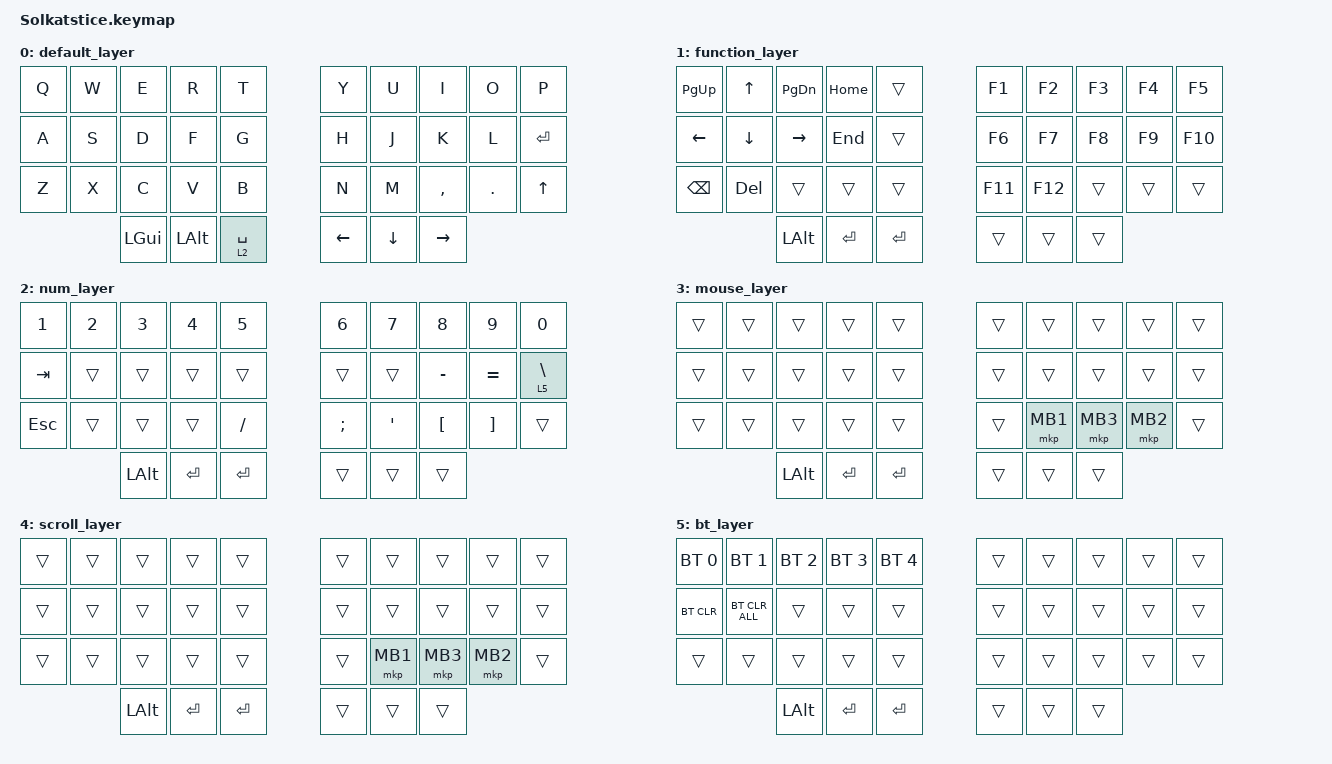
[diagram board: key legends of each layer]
#include <behaviors.dtsi>
#include <dt-bindings/zmk/keys.h>
#include <dt-bindings/zmk/pointing.h>
#include <dt-bindings/zmk/bt.h>
#include <behaviors/rgbled_widget.dtsi>

#define JIS 1
#define MOUSE 3
#define SCROLL 4
#define BT 5

&mt {
   flavor = "tap-preferred";
   quick_tap_ms = <125>;
   tapping_term_ms = <250>;
};
 
/ {
    macros {
        to_layer_0: to_layer_0 {
            compatible = "zmk,behavior-macro-one-param";
            #binding-cells = <1>;
            bindings = <&to 0 &macro_param_1to1 &kp MACRO_PLACEHOLDER>;
            label = "TO_LAYER_0";
        };
        mLCTL: mLCTL {
        compatible = "zmk,behavior-macro";
        #binding-cells = <0>;
        bindings = <&kp LCT>;
        };
        mF13: mF13 {
        compatible = "zmk,behavior-macro";
        #binding-cells = <0>;
        bindings = <&kp F13>;
        };
        mF14: mF14 {
        compatible = "zmk,behavior-macro";
        #binding-cells = <0>;
        bindings = <&kp F14>;
        };
        mF15: mF15 {
        compatible = "zmk,behavior-macro";
        #binding-cells = <0>;
        bindings = <&kp F15>;
        };
        mF16: mF16 {
        compatible = "zmk,behavior-macro";
        #binding-cells = <0>;
        bindings = <&kp F16>;
        };
        mF17: mF17 {
        compatible = "zmk,behavior-macro";
        #binding-cells = <0>;
        bindings = <&kp F17>;
        };
        mF18: mF18 {
        compatible = "zmk,behavior-macro";
        #binding-cells = <0>;
        bindings = <&kp F18>;
        };
    };

    behaviors {
        leader1: leader1 {
            compatible = "zmk,behavior-leader-key";
            #binding-cells = <0>;
            leftdown { sequence = <F13 F14 F15>; bindings = <&kp PG_UP>; };
            leftup   { sequence = <F15 F14 F13>; bindings = <&kp PG_DN>; };
            rightdown { sequence = <F16 F17 F18>; bindings = <&kp HOME>; };
            rightup   { sequence = <F18 F17 F16>; bindings = <&kp END>; };
        };

        lt_to_layer_0: lt_to_layer_0 {
            compatible = "zmk,behavior-hold-tap";
            label = "LAYER_TAP_TO_0";
            bindings = <&mo>, <&to_layer_0>;

            #binding-cells = <2>;
            tapping-term-ms = <200>;
        };
        toJIS: toJIS {
            compatible = "zmk,behavior-hold-tap";
            label = "toJIS";
            #binding-cells = <2>;
            tapping-term-ms = <200>;
            quick-tap-ms = <0>;
            bindings = <&tog>, <&kp>;
        };
        mo2: mo2 {
            compatible = "zmk,behavior-mod-morph";
            #binding-cells = <0>;
            bindings = <&kp N2>, <&kp LBKT>;
            mods = <(MOD_LSFT|MOD_RSFT)>;
        };
        mo6: mo6 {
            compatible = "zmk,behavior-mod-morph";
            #binding-cells = <0>;
            bindings = <&kp N6>, <&kp EQUAL>;
            mods = <(MOD_LSFT|MOD_RSFT)>;
        };
        mo7: mo7 {
            compatible = "zmk,behavior-mod-morph";
            #binding-cells = <0>;
            bindings = <&kp N7>, <&kp LS(N6)>;
            mods = <(MOD_LSFT|MOD_RSFT)>;
        };
        mo8: mo8 {
            compatible = "zmk,behavior-mod-morph";
            #binding-cells = <0>;
            bindings = <&kp N8>, <&kp LS(SQT)>;
            mods = <(MOD_LSFT|MOD_RSFT)>;
        };
        mo9: mo9 {
            compatible = "zmk,behavior-mod-morph";
            #binding-cells = <0>;
            bindings = <&kp N9>, <&kp LS(N8)>;
            mods = <(MOD_LSFT|MOD_RSFT)>;
        };
        mo0: mo0 {
            compatible = "zmk,behavior-mod-morph";
            #binding-cells = <0>;
            bindings = <&kp N0>, <&kp LS(N9)>;
            mods = <(MOD_LSFT|MOD_RSFT)>;
        };
        moMINUS: moMINUS {
            compatible = "zmk,behavior-mod-morph";
            #binding-cells = <0>;
            bindings = <&kp MINUS>, <&kp LS(INT_RO)>;
            mods = <(MOD_LSFT|MOD_RSFT)>;
        };
        moEQUAL: moEQUAL {
            compatible = "zmk,behavior-mod-morph";
            #binding-cells = <0>;
            bindings = <&kp LS(MINUS)>, <&kp COLON>;
            mods = <(MOD_LSFT|MOD_RSFT)>;
        };
        moLBKT: moLBKT {
            compatible = "zmk,behavior-mod-morph";
            #binding-cells = <0>;
            bindings = <&kp RBKT>, <&kp LS(RBRC)>;
            mods = <(MOD_LSFT|MOD_RSFT)>;
        };
        moRBKT: moRBKT {
            compatible = "zmk,behavior-mod-morph";
            #binding-cells = <0>;
            bindings = <&kp BSLH>, <&kp LS(BSLH)>;
            mods = <(MOD_LSFT|MOD_RSFT)>;
        };
        moSEMI: moSEMI {
            compatible = "zmk,behavior-mod-morph";
            #binding-cells = <0>;
            bindings = <&kp SEMI>, <&kp SQT>;
            mods = <(MOD_LSFT|MOD_RSFT)>;
        };
        moSQT: moSQT {
            compatible = "zmk,behavior-mod-morph";
            #binding-cells = <0>;
            bindings = <&kp LS(N7)>, <&kp LS(N2)>;
            mods = <(MOD_LSFT|MOD_RSFT)>;
        };
        moGRAVE: moGRAVE {
            compatible = "zmk,behavior-mod-morph";
            #binding-cells = <0>;
            bindings = <&kp LS(LBRC)>, <&kp LS(EQUAL)>;
            mods = <(MOD_LSFT|MOD_RSFT)>;
        };
    }; 
 
    keymap {
        compatible = "zmk,keymap";
        default_layer {
            bindings = <
//&kp CAPS        &kp BKSP
//&toJIS 1 TAB   
//&kp CAPS                  
//&kp LSHFT          &kp FSLH  &kp RSHFT    
//&mt LCTL ESC 

&kp Q     &kp W      &kp E      &kp R      &kp T        &kp Y     &kp U      &kp I      &kp O      &kp P
&kp A     &kp S      &kp D      &kp F      &kp G        &kp H     &kp J      &kp K      &kp L      &kp ENTER
&kp Z     &kp X      &kp C      &kp V      &kp B        &kp N     &kp M      &kp COMMA  &kp DOT    &kp UP
          &kp LGUI   &kp LALT   &lt 2 SPACE                                             &kp LEFT   &kp DOWN   &kp RIGHT
>;
       };

       function_layer {
           bindings = <
&kp PG_UP  &kp UP     &kp PG_DN  &kp HOME  &trans       &kp F1    &kp F2     &kp F3     &kp F4     &kp F5
&kp LEFT   &kp DOWN   &kp RIGHT  &kp END   &trans       &kp F6    &kp F7     &kp F8     &kp F9     &kp F10
&kp BKSP   &kp DEL    &trans     &trans    &trans       &kp F11   &kp F12    &trans     &trans     &trans 
           &kp LALT   &kp ENTER  &kp ENTER                                              &trans     &trans     &trans
>;
       };

       num_layer {
           bindings = <
&kp N1    &kp N2     &kp N3     &kp N4     &kp N5       &kp N6    &kp N7     &kp N8     &kp N9     &kp N0
&kp TAB   &trans     &trans     &trans     &trans       &trans    &trans     &kp MINUS  &kp EQUAL  &lt 5 BSLH
&kp ESC   &trans     &trans     &trans     &kp FSLH     &kp SEMI  &kp SQT    &kp LBKT   &kp RBKT   &trans
          &kp LALT   &kp ENTER  &kp ENTER                                               &trans     &trans     &trans
>;
       };


       mouse_layer {
           bindings = <
&trans    &trans     &trans     &trans     &trans       &trans    &trans     &trans     &trans     &trans
&trans    &trans     &trans     &trans     &trans       &trans    &trans     &trans     &trans     &trans
&trans    &trans     &trans     &trans     &trans       &trans    &mkp MB1   &mkp MB3   &mkp MB2   &trans
          &kp LALT   &kp ENTER  &kp ENTER                                               &trans     &trans     &trans
>;
       };

       scroll_layer {
           bindings = <
&trans    &trans     &trans     &trans     &trans       &trans    &trans     &trans     &trans     &trans
&trans    &trans     &trans     &trans     &trans       &trans    &trans     &trans     &trans     &trans
&trans    &trans     &trans     &trans     &trans       &trans    &mkp MB1   &mkp MB3   &mkp MB2   &trans
          &kp LALT   &kp ENTER  &kp ENTER                                               &trans     &trans     &trans
>;
       };

        bt_layer {
           bindings = <
&bt BT_SEL 0 &bt BT_SEL 1 &bt BT_SEL 2 &bt BT_SEL 3 &bt BT_SEL 4  &trans  &trans  &trans  &trans  &trans
&bt BT_CLR &bt BT_CLR_ALL &trans       &trans       &trans        &trans  &trans  &trans  &trans  &trans
&trans     &trans         &trans       &trans       &trans        &trans  &trans  &trans  &trans  &trans
          &kp LALT   &kp ENTER  &kp ENTER                                               &trans     &trans     &trans
>;
        };
    };
};

/ {
    aliases {
        led-red = &led0;
        led-green = &led1;
        led-blue = &led2;
    };

    leds {
        compatible = "gpio-leds";
        status = "okay";
        led0: led_0 {
            gpios = <&gpio0 26 GPIO_ACTIVE_LOW>;  // red LED, connected to P0.26
        };
        led1: led_1 {
            gpios = <&gpio0 30 GPIO_ACTIVE_LOW>;  // green LED, connected to P0.30
        };
        led2: led_2 {
            gpios = <&gpio0 6 GPIO_ACTIVE_LOW>;  // blue LED, connected to P0.06
        };
    };
};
